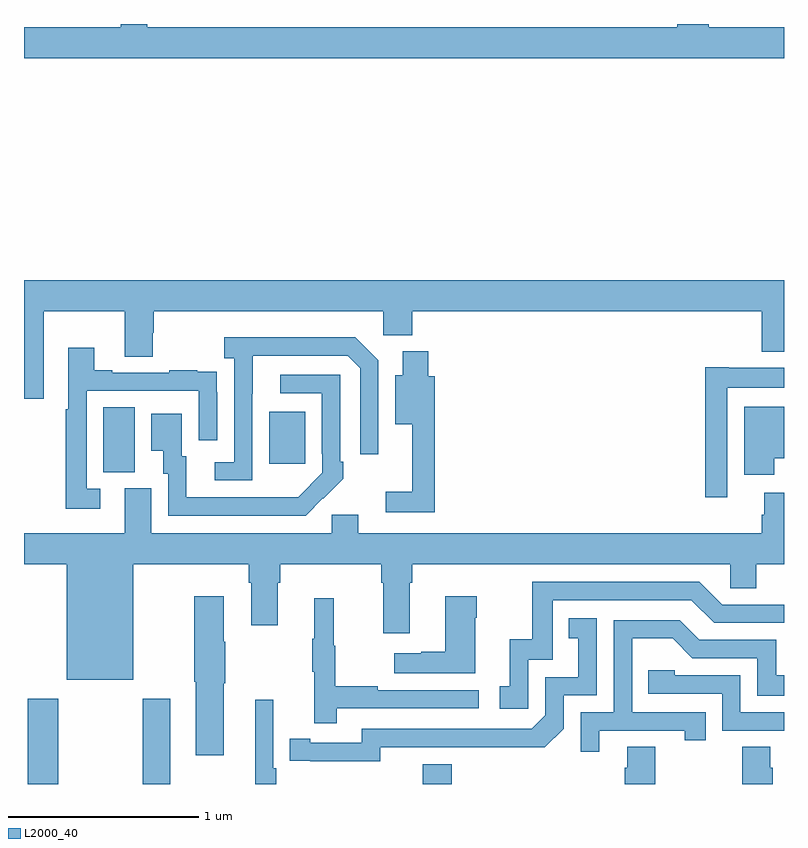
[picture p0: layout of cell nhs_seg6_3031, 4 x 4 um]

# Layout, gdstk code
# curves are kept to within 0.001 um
import gdstk
lib = gdstk.Library(unit=1e-6, precision=1e-09)
def R(c, l, rs):  # rectangles x0, y0, x1, y1
    for r in rs: c.add(gdstk.rectangle(r[:2], r[2:], *l))
def P(c, l, *ps):  # polygons
    for p in ps: c.add(gdstk.Polygon(p, *l))
L2000_40 = (2000, 40)

nhs_seg6_3031 = lib.new_cell('nhs_seg6_3031')
R(nhs_seg6_3031, L2000_40, [(289.019,959.5,289.179,959.95), (289.624,959.5,289.771,959.95), (291.098,959.5,291.251,959.605), (289.418,961.141,289.582,961.484), (290.291,961.185,290.479,961.459)])
P(nhs_seg6_3031, L2000_40, [(293,963.484),(292.604,963.484),(292.604,963.5),(292.439,963.5),(292.439,963.484),(289.648,963.484),(289.648,963.5),(289.509,963.5),(289.509,963.484),(289,963.484),(289,963.32),(293,963.32)],
  [(289.105,961.988),(289.529,961.988),(289.529,961.75),(289.677,961.75),(289.677,961.875),(289.682,961.875),(289.682,961.988),(290.892,961.988),(290.892,961.862),(291.044,961.862),(291.044,961.988),(292.883,961.988),(292.883,961.775),(293,961.775),(293,962.152),(289,962.152),(289,961.527),(289.105,961.527)],
  [(290.202,961.555),(290.203,961.755),(290.703,961.755),(290.769,961.689),(290.769,961.236),(290.865,961.236),(290.865,961.731),(290.744,961.852),(290.055,961.852),(290.055,961.742),(290.106,961.742),(290.106,961.194),(290.004,961.194),(290.004,961.098),(290.202,961.098)],
  [(289.402,961.053),(289.329,961.053),(289.329,961.569),(289.92,961.569),(289.92,961.308),(290.016,961.308),(290.016,961.562),(290.015,961.562),(290.015,961.671),(289.913,961.671),(289.913,961.678),(289.765,961.678),(289.765,961.665),(289.465,961.665),(289.465,961.678),(289.369,961.678),(289.369,961.795),(289.233,961.795),(289.233,961.472),(289.221,961.472),(289.221,960.948),(289.402,960.948)],
  [(291.161,961.647),(291.128,961.647),(291.128,961.777),(290.993,961.777),(290.993,961.651),(290.954,961.651),(290.954,961.394),(291.044,961.394),(291.044,961.039),(290.904,961.039),(290.904,960.93),(291.161,960.93)],
  [(292.701,961.586),(293,961.586),(293,961.69),(292.708,961.69),(292.708,961.693),(292.585,961.693),(292.585,961.008),(292.701,961.008)],
  [(290.573,961.003),(290.574,961.002),(290.679,961.107),(290.679,961.195),(290.664,961.195),(290.664,961.653),(290.349,961.653),(290.349,961.557),(290.568,961.557),(290.568,961.237),(290.571,961.237),(290.571,961.137),(290.443,961.009),(289.855,961.008),(289.855,961.224),(289.831,961.224),(289.831,961.45),(289.67,961.45),(289.67,961.253),(289.733,961.253),(289.733,961.134),(289.758,961.134),(289.758,960.912),(290.482,960.912)],
  [(292.948,961.214),(293,961.214),(293,961.486),(292.79,961.486),(292.79,961.128),(292.948,961.128)],
  [(289.669,961.056),(289.529,961.056),(289.529,960.82),(289,960.82),(289,960.656),(289.226,960.656),(289.226,960.05),(289.576,960.05),(289.576,960.656),(290.183,960.656),(290.183,960.56),(290.195,960.56),(290.195,960.336),(290.335,960.336),(290.335,960.56),(290.348,960.56),(290.348,960.656),(290.879,960.656),(290.879,960.56),(290.891,960.56),(290.891,960.294),(291.031,960.294),(291.031,960.56),(291.044,960.56),(291.044,960.656),(292.716,960.656),(292.716,960.529),(292.855,960.529),(292.855,960.656),(293,960.656),(293,961.033),(292.895,961.033),(292.895,960.918),(292.883,960.918),(292.883,960.82),(290.758,960.82),(290.758,960.918),(290.619,960.918),(290.619,960.82),(289.669,960.82)],
  [(291.654,960.153),(291.783,960.153),(291.783,960.468),(292.512,960.468),(292.632,960.348),(293,960.348),(293,960.444),(292.674,960.444),(292.554,960.564),(291.675,960.564),(291.675,960.262),(291.557,960.262),(291.557,960.015),(291.504,960.015),(291.504,959.895),(291.654,959.895)],
  [(290.05,960.031),(290.058,960.031),(290.058,960.248),(290.05,960.248),(290.05,960.487),(289.897,960.487),(289.897,960.037),(289.904,960.037),(289.904,959.652),(290.05,959.652)],
  [(291.376,960.374),(291.384,960.374),(291.384,960.487),(291.218,960.487),(291.218,960.197),(291.092,960.197),(291.092,960.187),(290.949,960.187),(290.949,960.083),(291.376,960.083)],
  [(290.645,959.898),(291.394,959.898),(291.394,959.994),(290.861,959.994),(290.861,960.014),(290.638,960.014),(290.638,960.228),(290.63,960.228),(290.63,960.478),(290.528,960.478),(290.528,960.265),(290.517,960.265),(290.517,960.091),(290.528,960.091),(290.528,959.82),(290.645,959.82)],
  [(290.874,959.694),(291.742,959.693),(291.84,959.79),(291.84,959.967),(292.014,959.967),(292.014,960.373),(291.868,960.373),(291.868,960.267),(291.917,960.267),(291.917,960.063),(291.744,960.063),(291.744,959.862),(291.672,959.79),(290.778,959.79),(290.778,959.718),(290.506,959.718),(290.506,959.738),(290.398,959.738),(290.398,959.622),(290.874,959.621)],
  [(292.027,959.781),(292.478,959.781),(292.478,959.73),(292.589,959.73),(292.589,959.877),(292.2,959.877),(292.2,960.266),(292.414,960.266),(292.518,960.162),(292.86,960.162),(292.86,959.964),(293,959.964),(293,960.073),(292.959,960.073),(292.959,960.258),(292.555,960.258),(292.45,960.363),(292.104,960.363),(292.104,959.877),(291.93,959.877),(291.93,959.67),(292.027,959.67)],
  [(293,959.877),(292.77,959.877),(292.77,960.072),(292.425,960.072),(292.425,960.099),(292.285,960.099),(292.285,959.976),(292.674,959.976),(292.674,959.781),(293,959.781)],
  [(290.327,959.584),(290.313,959.584),(290.313,959.944),(290.216,959.944),(290.216,959.5),(290.327,959.5)],
  [(292.323,959.696),(292.175,959.696),(292.175,959.586),(292.163,959.586),(292.163,959.5),(292.323,959.5)],
  [(292.94,959.586),(292.927,959.586),(292.927,959.696),(292.78,959.696),(292.78,959.5),(292.94,959.5)])

lib.write_gds('nhs_seg6_3031.gds')
